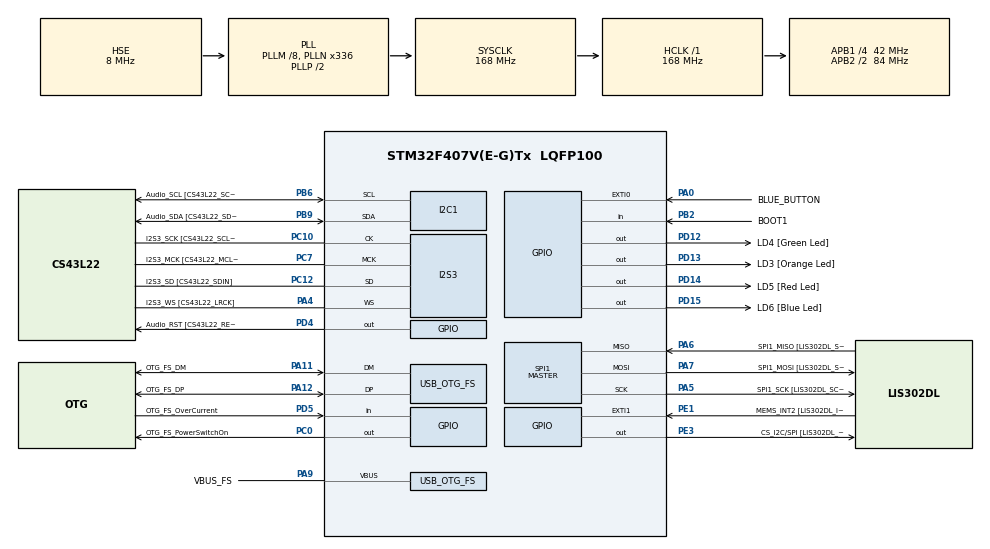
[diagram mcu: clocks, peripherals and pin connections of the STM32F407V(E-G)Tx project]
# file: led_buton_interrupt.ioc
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I2S3.AudioFreq-Half_Duplex_Master=I2S_AUDIOFREQ_96K
I2S3.ErrorAudioFreq=-2.34 %
I2S3.ErrorAudioFreq-Half_Duplex_Master=0.8 %
I2S3.FullDuplexMode=I2S_FULLDUPLEXMODE_DISABLE
I2S3.Instance=SPI$Index
I2S3.RealAudioFreq=93.75 KHz
I2S3.RealAudioFreq-Half_Duplex_Master=96.774 KHz
I2S3.VirtualMode=I2S_MODE_MASTER
Mcu.Family=STM32F4
Mcu.Name=STM32F407V(E-G)Tx
Mcu.Package=LQFP100
NVIC.EXTI0_IRQn=true\:0\:0\:false\:false\:true\:true\:true\:true
NVIC.OTG_FS_IRQn=true\:0\:0\:false\:false\:true\:true\:true\:true
NVIC.PriorityGroup=NVIC_PRIORITYGROUP_0
PA0-WKUP.GPIO_Label=BLUE_BUTTON
PA0-WKUP.Signal=GPXTI0
PA10.GPIO_Label=OTG_FS_ID
PA10.GPIO_Mode=GPIO_MODE_AF_PP
PA10.GPIO_PuPd=GPIO_NOPULL
PA10.GPIO_Speed=GPIO_SPEED_FREQ_LOW
PA10.Signal=USB_OTG_FS_ID
PA11.GPIO_Label=OTG_FS_DM
PA11.GPIO_Mode=GPIO_MODE_AF_PP
PA11.GPIO_PuPd=GPIO_NOPULL
PA11.GPIO_Speed=GPIO_SPEED_FREQ_LOW
PA11.Mode=Host_Only
PA11.Signal=USB_OTG_FS_DM
PA12.GPIO_Label=OTG_FS_DP
PA12.GPIO_Mode=GPIO_MODE_AF_PP
PA12.GPIO_PuPd=GPIO_NOPULL
PA12.GPIO_Speed=GPIO_SPEED_FREQ_LOW
PA12.Mode=Host_Only
PA12.Signal=USB_OTG_FS_DP
PA13.GPIO_Label=SWDIO
PA13.Mode=Serial_Wire
PA13.Signal=SYS_JTMS-SWDIO
PA14.GPIO_Label=SWCLK
PA14.Mode=Serial_Wire
PA14.Signal=SYS_JTCK-SWCLK
PA4.GPIO_Label=I2S3_WS [CS43L22_LRCK]
PA4.GPIO_Mode=GPIO_MODE_AF_PP
PA4.GPIO_PuPd=GPIO_NOPULL
PA4.GPIO_Speed=GPIO_SPEED_FREQ_LOW
PA4.Mode=Half_Duplex_Master
PA4.Signal=I2S3_WS
PA5.GPIO_Label=SPI1_SCK [LIS302DL_SCL/SPC]
PA5.GPIO_Mode=GPIO_MODE_AF_PP
PA5.GPIO_PuPd=GPIO_NOPULL
PA5.GPIO_Speed=GPIO_SPEED_FREQ_LOW
PA5.Mode=Full_Duplex_Master
PA5.Signal=SPI1_SCK
PA6.GPIO_Label=SPI1_MISO [LIS302DL_SDO]
PA6.GPIO_Mode=GPIO_MODE_AF_PP
PA6.GPIO_PuPd=GPIO_NOPULL
PA6.GPIO_Speed=GPIO_SPEED_FREQ_LOW
PA6.Mode=Full_Duplex_Master
PA6.Signal=SPI1_MISO
PA7.GPIO_Label=SPI1_MOSI [LIS302DL_SDA/SDI/SDO]
PA7.GPIO_Mode=GPIO_MODE_AF_PP
PA7.GPIO_PuPd=GPIO_NOPULL
PA7.GPIO_Speed=GPIO_SPEED_FREQ_LOW
PA7.Mode=Full_Duplex_Master
PA7.Signal=SPI1_MOSI
PA9.GPIO_Label=VBUS_FS
PA9.GPIO_Mode=GPIO_MODE_INPUT
PA9.GPIO_PuPd=GPIO_NOPULL
PA9.Mode=Activate_VBUS
PA9.Signal=USB_OTG_FS_VBUS
PB10.GPIO_Label=CLK_IN [MP45DT02_CLK]
PB10.GPIO_Mode=GPIO_MODE_AF_PP
PB10.GPIO_PuPd=GPIO_NOPULL
PB10.GPIO_Speed=GPIO_SPEED_FREQ_LOW
PB10.Signal=I2S2_CK
PB2.GPIO_Label=BOOT1
PB2.GPIO_Mode=GPIO_MODE_INPUT
PB2.GPIO_PuPd=GPIO_NOPULL
PB2.Signal=GPIO_Input
PB3.GPIO_Label=SWO
PB3.Signal=SYS_JTDO-SWO
PB6.GPIO_Label=Audio_SCL [CS43L22_SCL]
PB6.GPIO_Mode=GPIO_MODE_AF_OD
PB6.GPIO_Pu=GPIO_PULLUP
PB6.GPIO_PuPd=GPIO_NOPULL
PB6.GPIO_Speed=GPIO_SPEED_FREQ_LOW
PB6.Mode=I2C
PB6.Signal=I2C1_SCL
PB9.GPIO_Label=Audio_SDA [CS43L22_SDA]
PB9.GPIO_Mode=GPIO_MODE_AF_OD
PB9.GPIO_Pu=GPIO_PULLUP
PB9.GPIO_PuPd=GPIO_NOPULL
PB9.GPIO_Speed=GPIO_SPEED_FREQ_LOW
PB9.Mode=I2C
PB9.Signal=I2C1_SDA
PC0.GPIO_Label=OTG_FS_PowerSwitchOn
PC0.GPIO_PuPd=GPIO_NOPULL
PC0.GPIO_Speed=GPIO_SPEED_FREQ_LOW
PC0.PinState=GPIO_PIN_SET
PC0.Signal=GPIO_Output
PC10.GPIO_Label=I2S3_SCK [CS43L22_SCLK]
PC10.GPIO_Mode=GPIO_MODE_AF_PP
PC10.GPIO_PuPd=GPIO_NOPULL
PC10.GPIO_Speed=GPIO_SPEED_FREQ_LOW
PC10.Mode=Half_Duplex_Master
PC10.Signal=I2S3_CK
PC12.GPIO_Label=I2S3_SD [CS43L22_SDIN]
PC12.GPIO_Mode=GPIO_MODE_AF_PP
PC12.GPIO_PuPd=GPIO_NOPULL
PC12.GPIO_Speed=GPIO_SPEED_FREQ_LOW
PC12.Mode=Half_Duplex_Master
PC12.Signal=I2S3_SD
PC14-OSC32_IN.GPIO_Label=PC14-OSC32_IN
PC14-OSC32_IN.Mode=LSE-External-Oscillator
PC14-OSC32_IN.Signal=RCC_OSC32_IN
PC15-OSC32_OUT.GPIO_Label=PC15-OSC32_OUT
PC15-OSC32_OUT.Mode=LSE-External-Oscillator
PC15-OSC32_OUT.Signal=RCC_OSC32_OUT
PC3.GPIO_Label=PDM_OUT [MP45DT02_DOUT]
PC3.GPIO_Mode=GPIO_MODE_AF_PP
PC3.GPIO_PuPd=GPIO_NOPULL
PC3.GPIO_Speed=GPIO_SPEED_FREQ_LOW
PC3.Signal=I2S2_SD
PC7.GPIO_Label=I2S3_MCK [CS43L22_MCLK]
PC7.GPIO_Mode=GPIO_MODE_AF_PP
PC7.GPIO_PuPd=GPIO_NOPULL
PC7.GPIO_Speed=GPIO_SPEED_FREQ_LOW
PC7.Mode=Master_Clock_Activated
PC7.Signal=I2S3_MCK
PD12.GPIO_Label=LD4 [Green Led]
PD12.GPIO_PuPd=GPIO_NOPULL
PD12.GPIO_Speed=GPIO_SPEED_FREQ_VERY_HIGH
PD12.Signal=GPIO_Output
PD13.GPIO_Label=LD3 [Orange Led]
PD13.GPIO_PuPd=GPIO_NOPULL
PD13.GPIO_Speed=GPIO_SPEED_FREQ_VERY_HIGH
PD13.Signal=GPIO_Output
PD14.GPIO_Label=LD5 [Red Led]
PD14.GPIO_PuPd=GPIO_NOPULL
PD14.GPIO_Speed=GPIO_SPEED_FREQ_VERY_HIGH
PD14.Signal=GPIO_Output
PD15.GPIO_Label=LD6 [Blue Led]
PD15.GPIO_PuPd=GPIO_NOPULL
PD15.GPIO_Speed=GPIO_SPEED_FREQ_VERY_HIGH
PD15.Signal=GPIO_Output
PD4.GPIO_Label=Audio_RST [CS43L22_RESET]
PD4.GPIO_PuPd=GPIO_NOPULL
PD4.GPIO_Speed=GPIO_SPEED_FREQ_LOW
PD4.Signal=GPIO_Output
PD5.GPIO_Label=OTG_FS_OverCurrent
PD5.GPIO_Mode=GPIO_MODE_INPUT
PD5.GPIO_PuPd=GPIO_NOPULL
PD5.Signal=GPIO_Input
PE1.GPIO_Label=MEMS_INT2 [LIS302DL_INT2]
PE1.GPIO_ModeDefaultEXTI=GPIO_MODE_EVT_RISING
PE1.GPIO_PuPd=GPIO_NOPULL
PE1.Signal=GPXTI1
PE3.GPIO_Label=CS_I2C/SPI [LIS302DL_CS_I2C/SPI]
PE3.GPIO_PuPd=GPIO_NOPULL
PE3.GPIO_Speed=GPIO_SPEED_FREQ_LOW
PE3.Signal=GPIO_Output
PH0-OSC_IN.GPIO_Label=PH0-OSC_IN
PH0-OSC_IN.Mode=HSE-External-Oscillator
PH0-OSC_IN.Signal=RCC_OSC_IN
PH1-OSC_OUT.GPIO_Label=PH1-OSC_OUT
PH1-OSC_OUT.Mode=HSE-External-Oscillator
PH1-OSC_OUT.Signal=RCC_OSC_OUT
ProjectManager.HeapSize=0x200
ProjectManager.StackSize=0x400
ProjectManager.TargetToolchain=STM32CubeIDE
RCC.48MHZClocksFreq_Value=48000000
RCC.AHBFreq_Value=168000000
RCC.APB1CLKDivider=RCC_HCLK_DIV4
RCC.APB1Freq_Value=42000000
RCC.APB1TimFreq_Value=84000000
RCC.APB2CLKDivider=RCC_HCLK_DIV2
RCC.APB2Freq_Value=84000000
RCC.APB2TimFreq_Value=168000000
RCC.CortexFreq_Value=168000000
RCC.HCLKFreq_Value=168000000
RCC.HSE_VALUE=8000000
RCC.HSI_VALUE=16000000
RCC.PLLM=8
RCC.PLLN=336
RCC.PLLQ=7
RCC.SYSCLKFreq_VALUE=168000000
RCC.SYSCLKSource=RCC_SYSCLKSOURCE_PLLCLK
RCC.VCOOutputFreq_Value=336000000
SPI1.BaudRatePrescaler-Full_Duplex_Master=SPI_BAUDRATEPRESCALER_2
SPI1.CalculateBaudRate-Full_Duplex_Master=42.0 MBits/s
SPI1.Direction=SPI_DIRECTION_2LINES
SPI1.Mode=SPI_MODE_MASTER
SPI1.Mode-Full_Duplex_Master=SPI_MODE_MASTER
SPI1.VirtualType=VM_MASTER
USB_HOST.BSP.number=1
USB_HOST.USBH_HandleTypeDef-CDC_FS=hUsbHostFS
USB_HOST.VirtualModeFS=Cdc
USB_HOST0.BSP.STBoard=false
USB_HOST0.BSP.api=Unknown
USB_HOST0.BSP.instance=PC0
USB_HOST0.BSP.ip=GPIO
USB_HOST0.BSP.mode=Output
USB_HOST0.BSP.name=Drive_VBUS_FS
USB_HOST0.BSP.solution=PC0
USB_OTG_FS.VirtualMode=Host_Only
USB_OTG_FS.phy_itface=HCD_PHY_EMBEDDED
VP_USB_HOST_VS_USB_HOST_CDC_FS.Mode=CDC_FS
board=STM32F407G-DISC1

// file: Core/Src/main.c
/* USER CODE BEGIN Header */
/**
  ******************************************************************************
  * @file           : main.c
  * @brief          : Main program body
  ******************************************************************************
  * @attention
  *
  * Copyright (c) 2024 STMicroelectronics.
  * All rights reserved.
  *
  * This software is licensed under terms that can be found in the LICENSE file
  * in the root directory of this software component.
  * If no LICENSE file comes with this software, it is provided AS-IS.
  *
  ******************************************************************************
  */
/* USER CODE END Header */
#include "main.h"
#include "usb_host.h"

/* USER CODE BEGIN Includes */
int count = 0;
int i = 1;
/* USER CODE END Includes */

/* USER CODE BEGIN PTD */

void HAL_GPIO_EXTI_Callback(uint16_t GPIO_Pin)
{
	if (i == 1)
	{
		count = 1000;
		i ++;
	}

	else if (i == 2)
	{
		count = 750;
		i ++;
	}

	else if (i == 3)
	{
		count = 500;
		i ++;
	}

	else
	{
		count = 250;
		i = 0;
	}
}

/* USER CODE END PTD */

I2C_HandleTypeDef hi2c1;

I2S_HandleTypeDef hi2s3;

SPI_HandleTypeDef hspi1;

void SystemClock_Config(void);
static void MX_GPIO_Init(void);
static void MX_I2C1_Init(void);
static void MX_I2S3_Init(void);
static void MX_SPI1_Init(void);
void MX_USB_HOST_Process(void);

int main(void)
{

  /* MCU Configuration--------------------------------------------------------*/

  /* Reset of all peripherals, Initializes the Flash interface and the Systick. */
  HAL_Init();

  /* Configure the system clock */
  SystemClock_Config();

  /* Initialize all configured peripherals */
  MX_GPIO_Init();
  MX_I2C1_Init();
  MX_I2S3_Init();
  MX_SPI1_Init();
  MX_USB_HOST_Init();

  /* Infinite loop */
  while (1)
  {
    MX_USB_HOST_Process();

    /* USER CODE BEGIN 3 */

    HAL_GPIO_TogglePin(GPIOD, GPIO_PIN_All);
    HAL_Delay(count);
  }

  /* USER CODE END 3 */
}

void SystemClock_Config(void)
{
  RCC_OscInitTypeDef RCC_OscInitStruct = {0};
  RCC_ClkInitTypeDef RCC_ClkInitStruct = {0};

  /** Configure the main internal regulator output voltage
  */
  __HAL_RCC_PWR_CLK_ENABLE();
  __HAL_PWR_VOLTAGESCALING_CONFIG(PWR_REGULATOR_VOLTAGE_SCALE1);

  /** Initializes the RCC Oscillators according to the specified parameters
  * in the RCC_OscInitTypeDef structure.
  */
  RCC_OscInitStruct.OscillatorType = RCC_OSCILLATORTYPE_HSE;
  RCC_OscInitStruct.HSEState = RCC_HSE_ON;
  RCC_OscInitStruct.PLL.PLLState = RCC_PLL_ON;
  RCC_OscInitStruct.PLL.PLLSource = RCC_PLLSOURCE_HSE;
  RCC_OscInitStruct.PLL.PLLM = 8;
  RCC_OscInitStruct.PLL.PLLN = 336;
  RCC_OscInitStruct.PLL.PLLP = RCC_PLLP_DIV2;
  RCC_OscInitStruct.PLL.PLLQ = 7;
  if (HAL_RCC_OscConfig(&RCC_OscInitStruct) != HAL_OK)
  {
    Error_Handler();
  }

  /** Initializes the CPU, AHB and APB buses clocks
  */
  RCC_ClkInitStruct.ClockType = RCC_CLOCKTYPE_HCLK|RCC_CLOCKTYPE_SYSCLK
                              |RCC_CLOCKTYPE_PCLK1|RCC_CLOCKTYPE_PCLK2;
  RCC_ClkInitStruct.SYSCLKSource = RCC_SYSCLKSOURCE_PLLCLK;
  RCC_ClkInitStruct.AHBCLKDivider = RCC_SYSCLK_DIV1;
  RCC_ClkInitStruct.APB1CLKDivider = RCC_HCLK_DIV4;
  RCC_ClkInitStruct.APB2CLKDivider = RCC_HCLK_DIV2;

  if (HAL_RCC_ClockConfig(&RCC_ClkInitStruct, FLASH_LATENCY_5) != HAL_OK)
  {
    Error_Handler();
  }
}

static void MX_I2C1_Init(void)
{

  hi2c1.Instance = I2C1;
  hi2c1.Init.ClockSpeed = 100000;
  hi2c1.Init.DutyCycle = I2C_DUTYCYCLE_2;
  hi2c1.Init.OwnAddress1 = 0;
  hi2c1.Init.AddressingMode = I2C_ADDRESSINGMODE_7BIT;
  hi2c1.Init.DualAddressMode = I2C_DUALADDRESS_DISABLE;
  hi2c1.Init.OwnAddress2 = 0;
  hi2c1.Init.GeneralCallMode = I2C_GENERALCALL_DISABLE;
  hi2c1.Init.NoStretchMode = I2C_NOSTRETCH_DISABLE;
  if (HAL_I2C_Init(&hi2c1) != HAL_OK)
  {
    Error_Handler();
  }

}

static void MX_I2S3_Init(void)
{

  hi2s3.Instance = SPI3;
  hi2s3.Init.Mode = I2S_MODE_MASTER_TX;
  hi2s3.Init.Standard = I2S_STANDARD_PHILIPS;
  hi2s3.Init.DataFormat = I2S_DATAFORMAT_16B;
  hi2s3.Init.MCLKOutput = I2S_MCLKOUTPUT_ENABLE;
  hi2s3.Init.AudioFreq = I2S_AUDIOFREQ_96K;
  hi2s3.Init.CPOL = I2S_CPOL_LOW;
  hi2s3.Init.ClockSource = I2S_CLOCK_PLL;
  hi2s3.Init.FullDuplexMode = I2S_FULLDUPLEXMODE_DISABLE;
  if (HAL_I2S_Init(&hi2s3) != HAL_OK)
  {
    Error_Handler();
  }

}

static void MX_SPI1_Init(void)
{

  /* SPI1 parameter configuration*/
  hspi1.Instance = SPI1;
  hspi1.Init.Mode = SPI_MODE_MASTER;
  hspi1.Init.Direction = SPI_DIRECTION_2LINES;
  hspi1.Init.DataSize = SPI_DATASIZE_8BIT;
  hspi1.Init.CLKPolarity = SPI_POLARITY_LOW;
  hspi1.Init.CLKPhase = SPI_PHASE_1EDGE;
  hspi1.Init.NSS = SPI_NSS_SOFT;
  hspi1.Init.BaudRatePrescaler = SPI_BAUDRATEPRESCALER_2;
  hspi1.Init.FirstBit = SPI_FIRSTBIT_MSB;
  hspi1.Init.TIMode = SPI_TIMODE_DISABLE;
  hspi1.Init.CRCCalculation = SPI_CRCCALCULATION_DISABLE;
  hspi1.Init.CRCPolynomial = 10;
  if (HAL_SPI_Init(&hspi1) != HAL_OK)
  {
    Error_Handler();
  }

}

static void MX_GPIO_Init(void)
{
  GPIO_InitTypeDef GPIO_InitStruct = {0};

  /* GPIO Ports Clock Enable */
  __HAL_RCC_GPIOE_CLK_ENABLE();
  __HAL_RCC_GPIOC_CLK_ENABLE();
  __HAL_RCC_GPIOH_CLK_ENABLE();
  __HAL_RCC_GPIOA_CLK_ENABLE();
  __HAL_RCC_GPIOB_CLK_ENABLE();
  __HAL_RCC_GPIOD_CLK_ENABLE();

  /*Configure GPIO pin Output Level */
  HAL_GPIO_WritePin(CS_I2C_SPI_GPIO_Port, CS_I2C_SPI_Pin, GPIO_PIN_RESET);

  /*Configure GPIO pin Output Level */
  HAL_GPIO_WritePin(OTG_FS_PowerSwitchOn_GPIO_Port, OTG_FS_PowerSwitchOn_Pin, GPIO_PIN_SET);

  /*Configure GPIO pin Output Level */
  HAL_GPIO_WritePin(GPIOD, LD4_Pin|LD3_Pin|LD5_Pin|LD6_Pin
                          |Audio_RST_Pin, GPIO_PIN_RESET);

  /*Configure GPIO pin : CS_I2C_SPI_Pin */
  GPIO_InitStruct.Pin = CS_I2C_SPI_Pin;
  GPIO_InitStruct.Mode = GPIO_MODE_OUTPUT_PP;
  GPIO_InitStruct.Pull = GPIO_NOPULL;
  GPIO_InitStruct.Speed = GPIO_SPEED_FREQ_LOW;
  HAL_GPIO_Init(CS_I2C_SPI_GPIO_Port, &GPIO_InitStruct);

  /*Configure GPIO pin : OTG_FS_PowerSwitchOn_Pin */
  GPIO_InitStruct.Pin = OTG_FS_PowerSwitchOn_Pin;
  GPIO_InitStruct.Mode = GPIO_MODE_OUTPUT_PP;
  GPIO_InitStruct.Pull = GPIO_NOPULL;
  GPIO_InitStruct.Speed = GPIO_SPEED_FREQ_LOW;
  HAL_GPIO_Init(OTG_FS_PowerSwitchOn_GPIO_Port, &GPIO_InitStruct);

  /*Configure GPIO pin : PDM_OUT_Pin */
  GPIO_InitStruct.Pin = PDM_OUT_Pin;
  GPIO_InitStruct.Mode = GPIO_MODE_AF_PP;
  GPIO_InitStruct.Pull = GPIO_NOPULL;
  GPIO_InitStruct.Speed = GPIO_SPEED_FREQ_LOW;
  GPIO_InitStruct.Alternate = GPIO_AF5_SPI2;
  HAL_GPIO_Init(PDM_OUT_GPIO_Port, &GPIO_InitStruct);

  /*Configure GPIO pin : BLUE_BUTTON_Pin */
  GPIO_InitStruct.Pin = BLUE_BUTTON_Pin;
  GPIO_InitStruct.Mode = GPIO_MODE_IT_RISING;
  GPIO_InitStruct.Pull = GPIO_NOPULL;
  HAL_GPIO_Init(BLUE_BUTTON_GPIO_Port, &GPIO_InitStruct);

  /*Configure GPIO pin : BOOT1_Pin */
  GPIO_InitStruct.Pin = BOOT1_Pin;
  GPIO_InitStruct.Mode = GPIO_MODE_INPUT;
  GPIO_InitStruct.Pull = GPIO_NOPULL;
  HAL_GPIO_Init(BOOT1_GPIO_Port, &GPIO_InitStruct);

  /*Configure GPIO pin : CLK_IN_Pin */
  GPIO_InitStruct.Pin = CLK_IN_Pin;
  GPIO_InitStruct.Mode = GPIO_MODE_AF_PP;
  GPIO_InitStruct.Pull = GPIO_NOPULL;
  GPIO_InitStruct.Speed = GPIO_SPEED_FREQ_LOW;
  GPIO_InitStruct.Alternate = GPIO_AF5_SPI2;
  HAL_GPIO_Init(CLK_IN_GPIO_Port, &GPIO_InitStruct);

  /*Configure GPIO pins : LD4_Pin LD3_Pin LD5_Pin LD6_Pin */
  GPIO_InitStruct.Pin = LD4_Pin|LD3_Pin|LD5_Pin|LD6_Pin;
  GPIO_InitStruct.Mode = GPIO_MODE_OUTPUT_PP;
  GPIO_InitStruct.Pull = GPIO_NOPULL;
  GPIO_InitStruct.Speed = GPIO_SPEED_FREQ_VERY_HIGH;
  HAL_GPIO_Init(GPIOD, &GPIO_InitStruct);

  /*Configure GPIO pin : Audio_RST_Pin */
  GPIO_InitStruct.Pin = Audio_RST_Pin;
  GPIO_InitStruct.Mode = GPIO_MODE_OUTPUT_PP;
  GPIO_InitStruct.Pull = GPIO_NOPULL;
  GPIO_InitStruct.Speed = GPIO_SPEED_FREQ_LOW;
  HAL_GPIO_Init(Audio_RST_GPIO_Port, &GPIO_InitStruct);

  /*Configure GPIO pin : OTG_FS_OverCurrent_Pin */
  GPIO_InitStruct.Pin = OTG_FS_OverCurrent_Pin;
  GPIO_InitStruct.Mode = GPIO_MODE_INPUT;
  GPIO_InitStruct.Pull = GPIO_NOPULL;
  HAL_GPIO_Init(OTG_FS_OverCurrent_GPIO_Port, &GPIO_InitStruct);

  /*Configure GPIO pin : MEMS_INT2_Pin */
  GPIO_InitStruct.Pin = MEMS_INT2_Pin;
  GPIO_InitStruct.Mode = GPIO_MODE_EVT_RISING;
  GPIO_InitStruct.Pull = GPIO_NOPULL;
  HAL_GPIO_Init(MEMS_INT2_GPIO_Port, &GPIO_InitStruct);

  /* EXTI interrupt init*/
  HAL_NVIC_SetPriority(EXTI0_IRQn, 0, 0);
  HAL_NVIC_EnableIRQ(EXTI0_IRQn);

}

void Error_Handler(void)
{
  __disable_irq();
  while (1)
  {
  }
}
